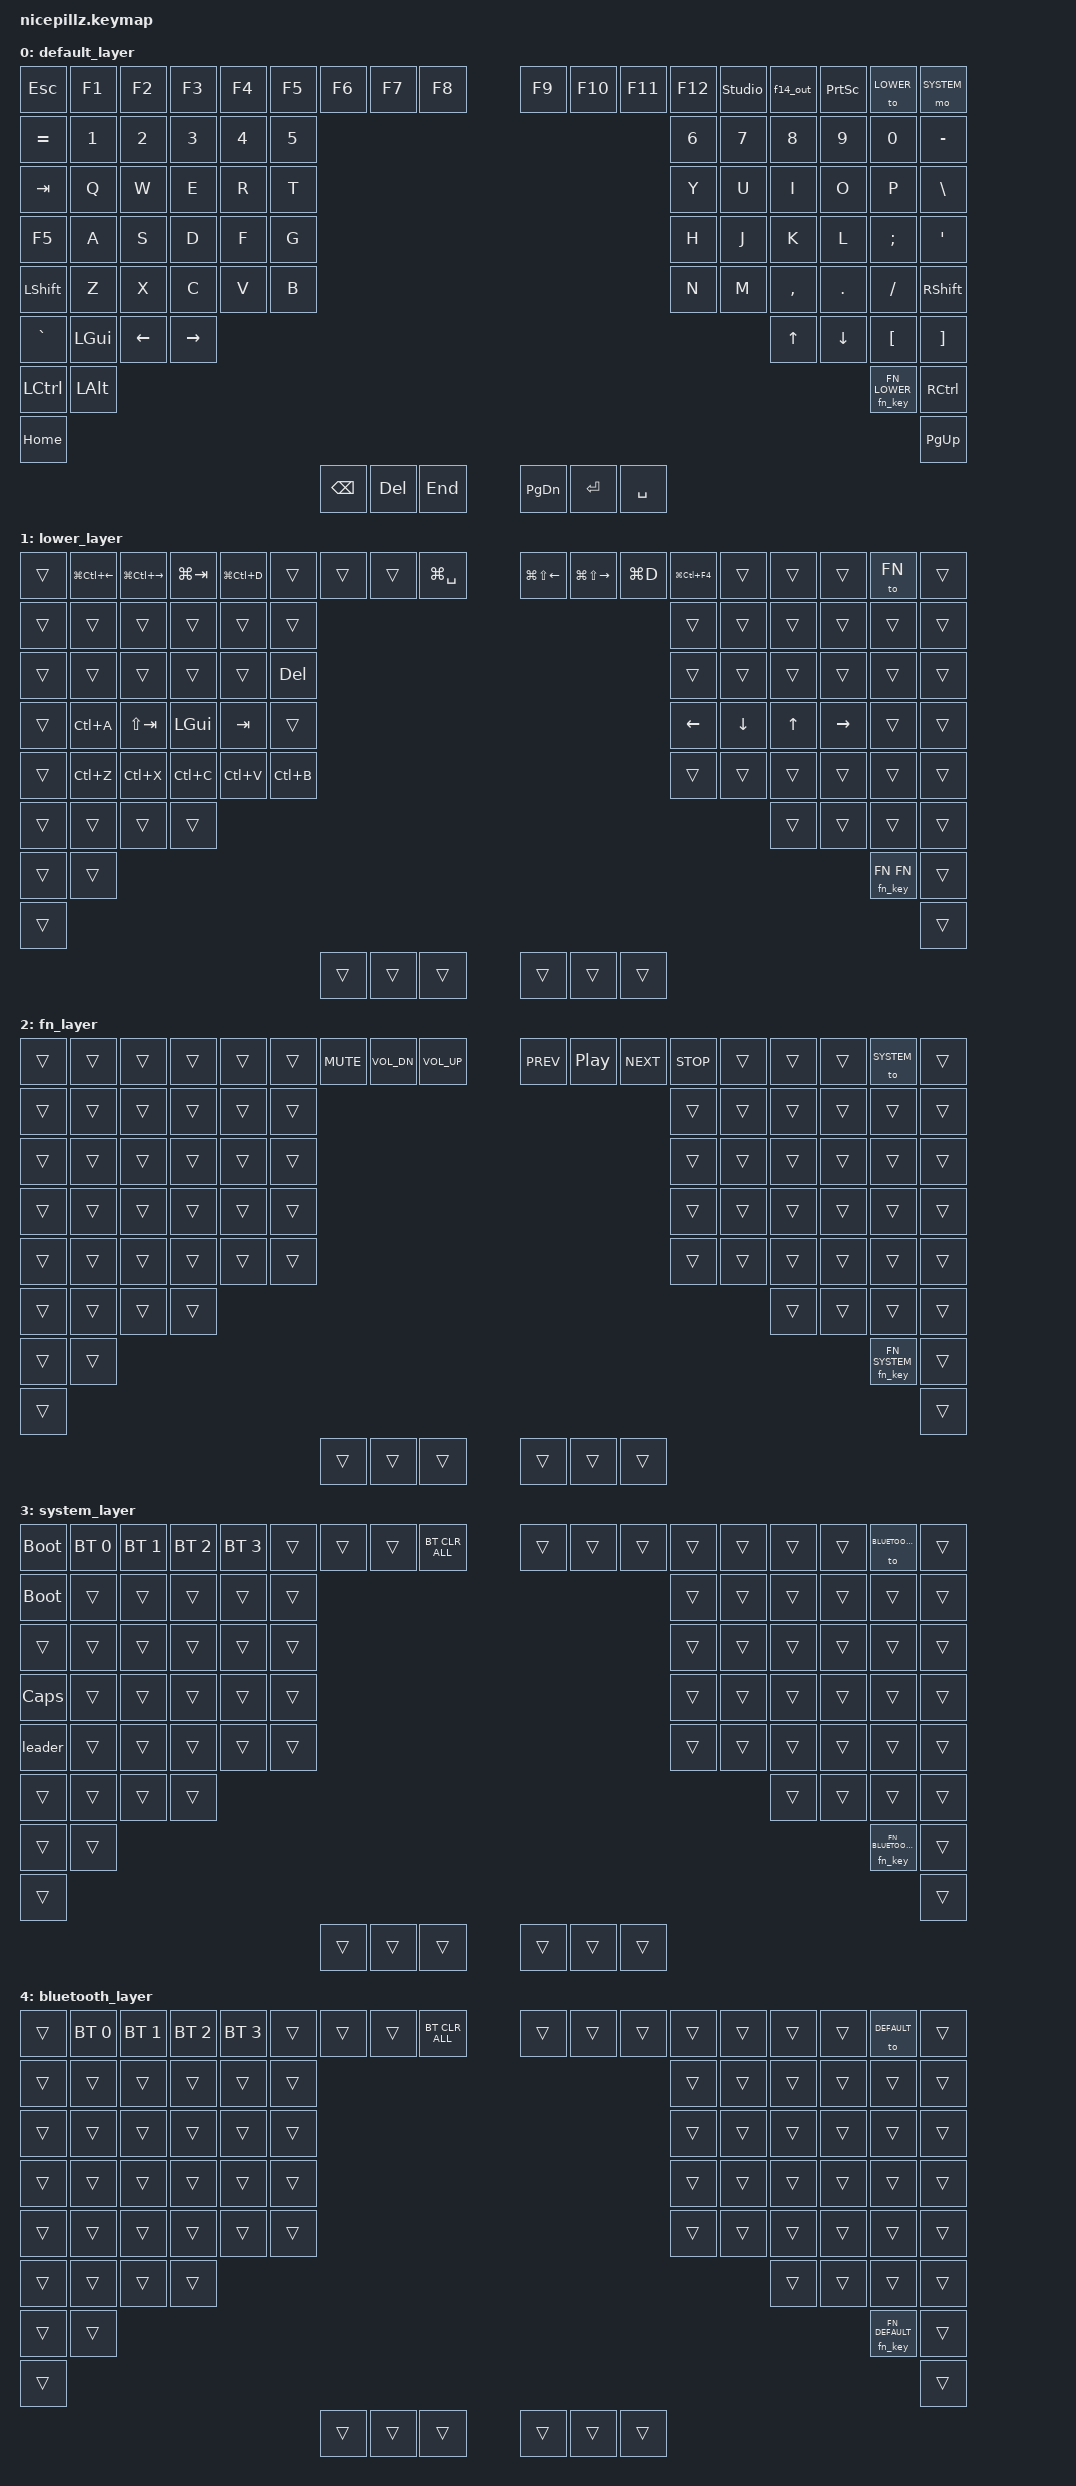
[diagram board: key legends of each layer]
/*
 * Copyright (c) 2020 The ZMK Contributors
 * 
 * SPDX-License-Identifier: MIT
 * 
 * ZMK keymap for Kinesis Advantage keyboards using Pillz Mod + Nice!Nano
 * Compatible with KLCM (Keyboard Layout Config Mapper)
 * 
 * This is the keymap that gets built. boards/shields/nicepillz/nicepillz.keymap
 * only includes this file.
 * 
 * Repository: https://github.com/nol00p/NicePillz
 */

// DEFAULT
#include <behaviors.dtsi>
#include <dt-bindings/zmk/keys.h>
#include <dt-bindings/zmk/bt.h>
#include <dt-bindings/zmk/outputs.h>

// CUST Includes
#define HOST_OS 3  // Windows: unicode macros type through WinCompose (RAlt+U ... Enter).
#include "zmk-helpers/helper.h"
#include "unicode.h"

/********************/
/*      Layers      */
/********************/
// The LAYER key (F16) and a tap of the FUNCTION thumb key step through these in order, dots 1-5
// on the display.
#define DEFAULT   0
#define LOWER     1
#define FN        2
#define SYSTEM    3
#define BLUETOOTH 4

/********************/
/* custom behaviors */
/********************/
// F14 key: F14, or with Shift held the output switches between Bluetooth and USB.
ZMK_BEHAVIOR(f14_out, mod_morph,
    bindings = <&kp F14>, <&out OUT_TOG>;
    mods = <(MOD_LSFT|MOD_RSFT)>;
)

// FUNCTION thumb key: FN layer while held with another key, next layer when tapped on its own.
// Used as &fn_key FN <next layer>. hold-preferred: any key pressed while it is down is an FN key.
ZMK_BEHAVIOR(fn_key, hold_tap,
    flavor = "hold-preferred";
    tapping-term-ms = <200>;
    bindings = <&mo>, <&to>;
)

/**********************/
/* Leader definitions */
/**********************/
// Leader (PROGRAM + left Shift) then a sequence. Windows virtual desktops / window moves.

/ {
    behaviors {
        leader: leader {
            compatible = "zmk,behavior-leader-key";
            #binding-cells = <0>;
            euro   { sequence = <N4>;    bindings = <&euro_sign_l>; };
            //system { sequence = <ESC>; bindings = <&sl SYSTEM>; };
            desk_l { sequence = <D N1>;  bindings = <&kp LG(LC(LEFT))>; };   // previous virtual desktop
            desk_r { sequence = <D N2>;  bindings = <&kp LG(LC(RIGHT))>; };  // next virtual desktop
            win_l  { sequence = <W N1>;  bindings = <&kp LG(LS(LEFT))>; };   // move window to left monitor
            win_r  { sequence = <W N2>;  bindings = <&kp LG(LS(RIGHT))>; };  // move window to right monitor
        };
    };
};

// Combo

/********************/
/*  custom Keymaps  */
/********************/
// Windows layout following the Kinesis Advantage legends. Caps Lock position is F5.
// ZMK Studio: connect over USB with the keyboard running normally (not in bootloader), then press
// the F13 key to unlock.
//
    // | ESC   | F1 | F2 | F3 | F4 | F5 | F6 | F7 | F8 |      | F9 | F10 | F11 | F12 |UNLOCK| F14  | PSCRN| LAYER | PROGRAM |   (F13 = Studio unlock, Shift+F14 = BT/USB output)
    // |   =   |  1   |  2   |  3   |  4   |  5   |                |  6   |  7   |  8   |  9   |  0   |  -   |
    // |  TAB  |  Q   |  W   |  E   |  R   |  T   |                |  Y   |  U   |  I   |  O   |  P   |  \   |
    // |  F5   |  A   |  S   |  D   |  F   |  G   |                |  H   |  J   |  K   |  L   |  ;   |  '   |   (Caps Lock key = F5)
    // | LSHFT |  Z   |  X   |  C   |  V   |  B   |                |  N   |  M   |  ,   |  .   |  /   | RSHFT|
    //         |  `   | WIN  | LEFT |RIGHT |                              |  UP  | DOWN |  [   |  ]   |
    //                                     | CTRL | ALT  |  | FUNC | CTRL |
    //                                            | HOME |  | PGUP |
    //                              | BSPC | DEL  | END  |  | PGDN | ENT  | SPC  |
    // BSPC, DEL and ENT are plain keys. PROGRAM (top right) = SYSTEM when held.
    // LAYER (F16) steps to the next layer: DEFAULT > LOWER > FN > SYSTEM > BLUETOOTH > DEFAULT.
    // FUNC (right thumb): FN layer while held with another key, same as LAYER when tapped alone.
    // Bluetooth: PROGRAM + F1-F4 select the profile, PROGRAM + F8 forgets all four. The same keys
    // work on the BLUETOOTH layer (dot 5).

ZMK_LAYER(default_layer,
    &kp ESC     &kp F1       &kp F2      &kp F3        &kp F4            &kp F5   &kp F6  &kp F7  &kp F8                    &kp F9       &kp F10          &kp F11    &kp F12 &studio_unlock  &f14_out        &kp PSCRN       &to LOWER  &mo SYSTEM
    &kp EQUAL   &kp N1       &kp N2      &kp N3        &kp N4            &kp N5                     &kp N6    &kp N7         &kp N8          &kp N9      &kp N0          &kp MINUS
    &kp TAB     &kp Q        &kp W       &kp E         &kp R             &kp T                      &kp Y     &kp U          &kp I           &kp O       &kp P           &kp BSLH
    &kp F5      &kp A        &kp S       &kp D         &kp F             &kp G                      &kp H     &kp J          &kp K           &kp L       &kp SEMI        &kp SQT
    &kp LSHFT   &kp Z        &kp X       &kp C         &kp V             &kp B                      &kp N     &kp M          &kp COMMA       &kp DOT     &kp SLASH       &kp RSHFT
                &kp GRAVE    &kp LGUI    &kp LEFT      &kp RIGHT                                              &kp UP         &kp DOWN        &kp LBKT    &kp RBKT
                                                            &kp LCTRL       &kp LALT         &fn_key FN LOWER  &kp RCTRL
                                                                            &kp HOME         &kp PG_UP
                                                &kp BSPC    &kp DEL         &kp END          &kp PG_DN  &kp ENTER         &kp SPACE
)

// LOWER (dot 2): Windows desktop shortcuts on the F row, editing and arrows on the left/right hands.
    // F1 prev desktop, F2 next desktop, F3 task view, F4 new desktop, F8 input language,
    // F9 window to left monitor, F10 window to right monitor, F11 show desktop, F12 close desktop
ZMK_LAYER(lower_layer,
    &trans  &kp LG(LC(LEFT)) &kp LG(LC(RIGHT)) &kp LG(TAB) &kp LG(LC(D))    &trans  &trans  &trans  &kp LG(SPACE)     &kp LG(LS(LEFT))  &kp LG(LS(RIGHT))  &kp LG(D)  &kp LG(LC(F4))   &trans  &trans  &trans  &to FN  &trans
    &trans  &trans      &trans      &trans      &trans      &trans                              &trans      &trans      &trans  &trans      &trans  &trans
    &trans  &trans      &trans      &trans      &trans      &kp DEL                             &trans      &trans      &trans  &trans      &trans  &trans
    &trans  &kp LC(A)   &kp LS(TAB) &kp LGUI    &kp TAB     &trans                              &kp LEFT    &kp DOWN    &kp UP  &kp RIGHT   &trans  &trans
    &trans  &kp LC(Z)   &kp LC(X)   &kp LC(C)   &kp LC(V)   &kp LC(B)                           &trans      &trans      &trans  &trans      &trans  &trans
            &trans      &trans      &trans      &trans                                                      &trans      &trans  &trans      &trans
                                                            &trans  &trans              &fn_key FN FN  &trans
                                                                    &trans              &trans
                                                    &trans  &trans  &trans              &trans  &trans  &trans
)

// FN (dot 3, or hold the FUNCTION thumb key): media keys. F6 mute, F7 volume down, F8 volume up,
// F9 previous, F10 play/pause, F11 next, F12 stop. The keys right of F12 stay the same as on
// every other layer.
ZMK_LAYER(fn_layer,
    &trans  &trans  &trans  &trans  &trans  &trans  &kp C_MUTE  &kp C_VOL_DN  &kp C_VOL_UP     &kp C_PREV  &kp C_PLAY_PAUSE  &kp C_NEXT  &kp C_STOP  &trans  &trans  &trans  &to SYSTEM  &trans
    &trans  &trans  &trans  &trans  &trans  &trans                              &trans  &trans  &trans  &trans  &trans  &trans
    &trans  &trans  &trans  &trans  &trans  &trans                              &trans  &trans  &trans  &trans  &trans  &trans
    &trans  &trans  &trans  &trans  &trans  &trans                              &trans  &trans  &trans  &trans  &trans  &trans
    &trans  &trans  &trans  &trans  &trans  &trans                              &trans  &trans  &trans  &trans  &trans  &trans
            &trans  &trans  &trans  &trans                                              &trans  &trans  &trans  &trans
                                                  &trans  &trans        &fn_key FN SYSTEM  &trans
                                                          &trans        &trans
                                          &trans  &trans  &trans        &trans  &trans  &trans
)

// SYSTEM (dot 4, or hold PROGRAM): ESC or = -> bootloader (flashing mode), F1-F4 select Bluetooth
// profile 1-4, F8 forgets all four Bluetooth pairings, Caps Lock key -> Caps Lock, left Shift ->
// leader key.
ZMK_LAYER(system_layer,
    &bootloader  &bt BT_SEL 0  &bt BT_SEL 1  &bt BT_SEL 2  &bt BT_SEL 3  &trans  &trans  &trans  &bt BT_CLR_ALL   &trans  &trans  &trans  &trans  &trans  &trans  &trans  &to BLUETOOTH  &trans
    &bootloader  &trans  &trans  &trans  &trans  &trans                                                                   &trans  &trans  &trans  &trans  &trans  &trans
    &trans  &trans  &trans  &trans  &trans  &trans                                                                   &trans  &trans  &trans  &trans  &trans  &trans
    &kp CAPS  &trans  &trans  &trans  &trans  &trans                                                                 &trans  &trans  &trans  &trans  &trans  &trans
    &leader   &trans  &trans  &trans  &trans  &trans                                                                 &trans  &trans  &trans  &trans  &trans  &trans
            &trans  &trans  &trans  &trans                                                                                   &trans  &trans  &trans  &trans
                                                  &trans  &trans                                        &fn_key FN BLUETOOTH  &trans
                                                          &trans                                        &trans
                                          &trans  &trans  &trans                                        &trans  &trans  &trans
)

// BLUETOOTH (dot 5): F1-F4 select Bluetooth profile 1-4, F8 forgets all four pairings. Everything
// else types normally.
ZMK_LAYER(bluetooth_layer,
    &trans  &bt BT_SEL 0  &bt BT_SEL 1  &bt BT_SEL 2  &bt BT_SEL 3  &trans  &trans  &trans  &bt BT_CLR_ALL   &trans  &trans  &trans  &trans  &trans  &trans  &trans  &to DEFAULT  &trans
    &trans  &trans  &trans  &trans  &trans  &trans                                                                   &trans  &trans  &trans  &trans  &trans  &trans
    &trans  &trans  &trans  &trans  &trans  &trans                                                                   &trans  &trans  &trans  &trans  &trans  &trans
    &trans  &trans  &trans  &trans  &trans  &trans                                                                   &trans  &trans  &trans  &trans  &trans  &trans
    &trans  &trans  &trans  &trans  &trans  &trans                                                                   &trans  &trans  &trans  &trans  &trans  &trans
            &trans  &trans  &trans  &trans                                                                                   &trans  &trans  &trans  &trans
                                                  &trans  &trans                                        &fn_key FN DEFAULT  &trans
                                                          &trans                                        &trans
                                          &trans  &trans  &trans                                        &trans  &trans  &trans
)
